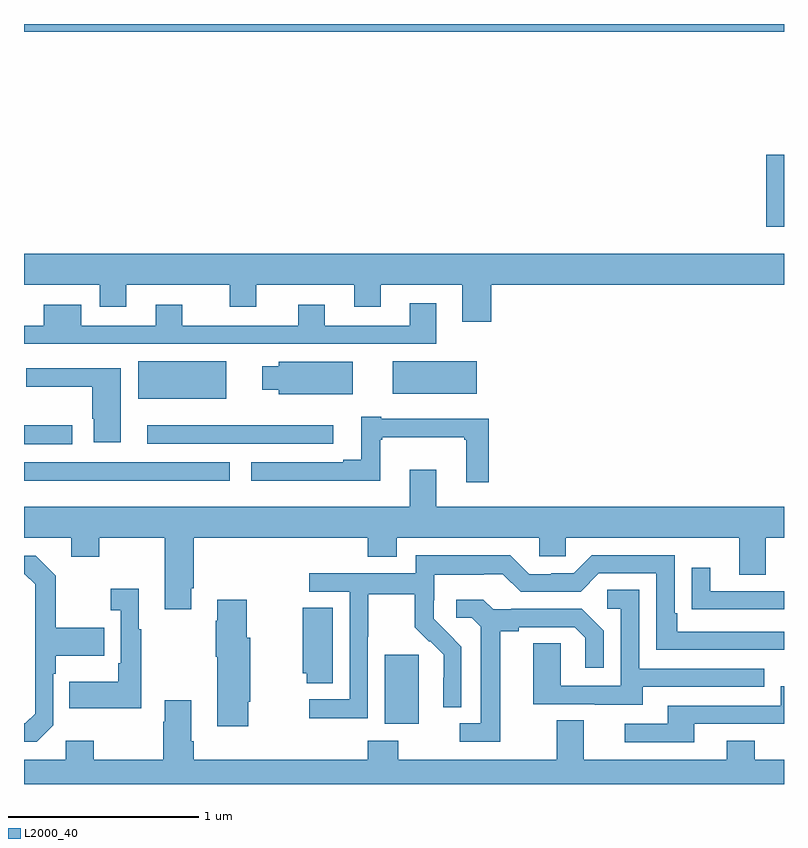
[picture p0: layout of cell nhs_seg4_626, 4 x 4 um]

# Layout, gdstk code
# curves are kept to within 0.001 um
import gdstk
lib = gdstk.Library(unit=1e-6, precision=1e-09)
def R(c, l, rs):  # rectangles x0, y0, x1, y1
    for r in rs: c.add(gdstk.rectangle(r[:2], r[2:], *l))
def P(c, l, *ps):  # polygons
    for p in ps: c.add(gdstk.Polygon(p, *l))
L2000_40 = (2000, 40)

nhs_seg4_626 = lib.new_cell('nhs_seg4_626')
R(nhs_seg4_626, L2000_40, [(144.899,753.218,145.078,753.579), (143,754.496,144.082,754.593), (143,754.689,143.254,754.787), (143.649,754.692,144.628,754.789), (143.6,754.928,144.064,755.125), (144.941,754.955,145.384,755.125), (146.906,755.832,147,756.213), (143,756.86,147,756.9)])
P(nhs_seg4_626, L2000_40, [(143,755.528),(143.399,755.528),(143.399,755.411),(143.539,755.411),(143.539,755.528),(144.083,755.528),(144.083,755.411),(144.223,755.411),(144.223,755.528),(144.737,755.528),(144.737,755.411),(144.877,755.411),(144.877,755.528),(145.307,755.528),(145.307,755.334),(145.46,755.334),(145.46,755.528),(147,755.528),(147,755.692),(143,755.692)],
  [(145.171,755.431),(145.031,755.431),(145.031,755.313),(144.583,755.313),(144.583,755.422),(144.443,755.422),(144.443,755.313),(143.833,755.313),(143.833,755.422),(143.693,755.422),(143.693,755.313),(143.302,755.313),(143.302,755.422),(143.105,755.422),(143.105,755.313),(143,755.313),(143,755.217),(145.171,755.217)],
  [(144.73,755.122),(144.342,755.122),(144.342,755.098),(144.254,755.098),(144.254,754.976),(144.342,754.976),(144.342,754.952),(144.73,754.952)],
  [(143.509,755.088),(143.119,755.088),(143.119,755.087),(143.011,755.087),(143.011,754.991),(143.359,754.991),(143.359,754.822),(143.366,754.822),(143.366,754.7),(143.509,754.7)],
  [(145.445,754.822),(144.88,754.822),(144.88,754.834),(144.776,754.834),(144.776,754.606),(144.68,754.606),(144.68,754.593),(144.195,754.593),(144.195,754.496),(144.874,754.496),(144.874,754.713),(144.886,754.713),(144.886,754.724),(145.317,754.724),(145.317,754.713),(145.328,754.713),(145.328,754.488),(145.445,754.488)],
  [(143,754.196),(143.249,754.196),(143.249,754.097),(143.397,754.097),(143.397,754.196),(143.741,754.196),(143.741,753.819),(143.881,753.819),(143.881,753.931),(143.894,753.931),(143.894,754.196),(144.809,754.196),(144.809,754.097),(144.961,754.097),(144.961,754.196),(145.713,754.196),(145.713,754.098),(145.851,754.098),(145.851,754.196),(146.765,754.196),(146.765,754.002),(146.905,754.002),(146.905,754.196),(147,754.196),(147,754.36),(145.171,754.36),(145.171,754.555),(145.031,754.555),(145.031,754.36),(143,754.36)],
  [(144.714,753.912),(144.714,753.345),(144.501,753.345),(144.501,753.247),(144.81,753.247),(144.81,753.676),(144.813,753.676),(144.813,753.9),(145.057,753.9),(145.057,753.725),(145.134,753.648),(145.137,753.651),(145.208,753.581),(145.208,753.458),(145.206,753.458),(145.206,753.304),(145.302,753.304),(145.302,753.622),(145.156,753.77),(145.156,753.867),(145.158,753.867),(145.158,754.001),(145.421,754.001),(145.421,754.005),(145.521,754.005),(145.614,753.912),(145.929,753.912),(146.025,754.008),(146.328,754.008),(146.328,753.606),(147,753.606),(147,753.702),(146.437,753.702),(146.437,753.799),(146.424,753.799),(146.424,754.104),(145.989,754.104),(145.893,754.008),(145.775,754.008),(145.775,754.005),(145.659,754.005),(145.559,754.105),(145.062,754.105),(145.062,754.008),(144.501,754.008),(144.501,753.912)],
  [(143.154,753.21),(143.154,753.479),(143.167,753.479),(143.167,753.575),(143.423,753.575),(143.423,753.723),(143.167,753.723),(143.167,753.995),(143.061,754.101),(143,754.101),(143,754.005),(143.004,754.005),(143.058,753.951),(143.058,753.27),(143.007,753.219),(143,753.219),(143,753.123),(143.067,753.123)],
  [(147,753.915),(146.611,753.915),(146.611,754.039),(146.515,754.039),(146.515,753.82),(146.617,753.82),(146.617,753.819),(147,753.819)],
  [(143.617,753.715),(143.605,753.715),(143.605,753.928),(143.457,753.928),(143.457,753.815),(143.508,753.815),(143.508,753.535),(143.496,753.535),(143.496,753.439),(143.239,753.439),(143.239,753.299),(143.617,753.299)],
  [(146.257,753.411),(146.897,753.411),(146.897,753.507),(146.238,753.507),(146.238,753.923),(146.07,753.923),(146.07,753.822),(146.142,753.822),(146.142,753.417),(145.824,753.417),(145.824,753.641),(145.679,753.641),(145.679,753.321),(146.003,753.321),(146.003,753.317),(146.257,753.317)],
  [(144.18,753.333),(144.19,753.333),(144.19,753.669),(144.172,753.669),(144.172,753.871),(144.017,753.871),(144.017,753.758),(144.01,753.758),(144.01,753.569),(144.017,753.569),(144.017,753.204),(144.18,753.204)],
  [(145.507,753.704),(145.603,753.704),(145.603,753.726),(145.898,753.726),(145.955,753.669),(145.955,753.513),(146.052,753.513),(146.052,753.706),(145.936,753.822),(145.564,753.822),(145.564,753.819),(145.47,753.819),(145.418,753.871),(145.275,753.871),(145.275,753.774),(145.356,753.774),(145.403,753.727),(145.403,753.219),(145.293,753.219),(145.293,753.123),(145.507,753.123)],
  [(144.625,753.827),(144.467,753.827),(144.467,753.483),(144.487,753.483),(144.487,753.43),(144.625,753.43)],
  [(146.527,753.216),(147,753.216),(147,753.415),(146.982,753.415),(146.982,753.312),(146.387,753.312),(146.387,753.216),(146.163,753.216),(146.163,753.12),(146.527,753.12)],
  [(147,753.028),(146.847,753.028),(146.847,753.127),(146.699,753.127),(146.699,753.028),(145.945,753.028),(145.945,753.236),(145.805,753.236),(145.805,753.028),(144.969,753.028),(144.969,753.127),(144.809,753.127),(144.809,753.028),(143.894,753.028),(143.894,753.124),(143.881,753.124),(143.881,753.34),(143.741,753.34),(143.741,753.227),(143.734,753.227),(143.734,753.028),(143.367,753.028),(143.367,753.127),(143.22,753.127),(143.22,753.028),(143,753.028),(143,752.9),(147,752.9)])

lib.write_gds('nhs_seg4_626.gds')
